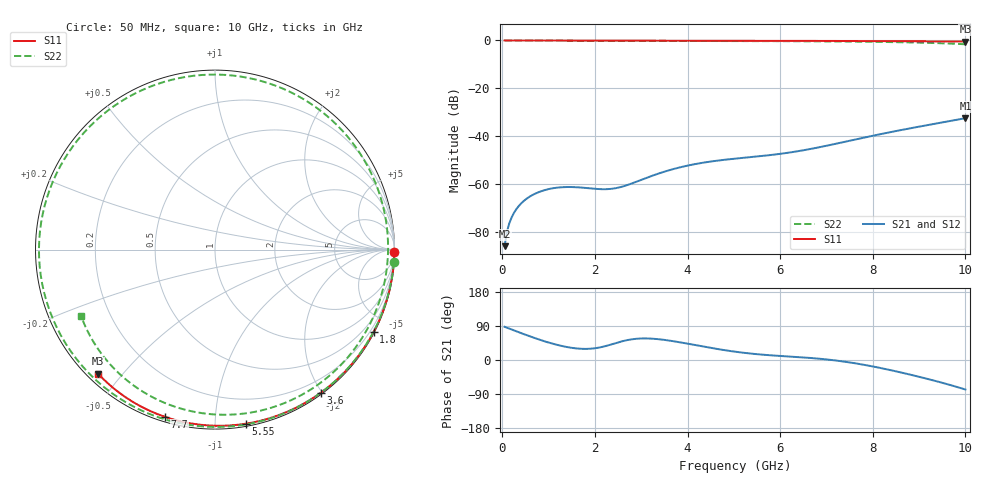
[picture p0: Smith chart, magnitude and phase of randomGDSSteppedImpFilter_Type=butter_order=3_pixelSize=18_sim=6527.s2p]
! freq	dB(S11)	phase(S11)	dB(S12)	phase(S12)
!  dB(S21)	phase(S21)	dB(S22)	phase(S22)
!S-par simulation data
#  GHz  S  DB  R 50
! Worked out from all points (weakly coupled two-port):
!   200 points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, 50 MHz to 10 GHz, reference 50 ohm
!   highest |S21| = -32.47 dB at 10 GHz (marker M1); lowest = -85.9 dB at 50 MHz (marker M2)
!   lowest |S11| = -0.4 dB at 10 GHz (marker M3), VSWR 38.93, Z = 1.52 - j21.5 ohm
!   |S11| at or under -10 dB: nowhere
!   |S22| runs from -1.6 to 0.0 dB; largest |S21 - S12| = 0
!   S11 on the Smith chart (normalised r, x): 50 MHz: open; 1.8 GHz: 0.04, -4.11; 3.6 GHz: 0.02, -1.98; 5.55 GHz: 0.02, -1.19; 7.7 GHz: 0.02, -0.75; 10 GHz: 0.03, -0.43
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0.05  -0.00 -0.8  -85.92 87.6  -85.92 87.6  -0.00 -4.1
0.1  -0.00 -1.6  -79.92 85.3  -79.92 85.3  -0.01 -8.1
0.2  -0.00 -3.1  -73.96 80.5  -73.96 80.5  -0.02 -16.2
0.4  -0.01 -6.2  -68.21 71.2  -68.21 71.2  -0.05 -32.1
0.9  -0.02 -13.8  -62.60 49.8  -62.60 49.8  -0.09 -70.5
1.3  -0.02 -19.9  -61.29 36.6  -61.29 36.6  -0.11 -99.2
1.75  -0.03 -26.6  -61.51 29.4  -61.51 29.4  -0.14 -129.1
1.8  -0.03 -27.4  -61.60 29.3  -61.60 29.3  -0.14 -132.3
2.2  -0.04 -33.3  -62.14 35.8  -62.14 35.8  -0.16 -156.9
2.55  -0.05 -38.4  -61.26 48.2  -61.26 48.2  -0.17 -177.4
2.95  -0.06 -44.2  -58.60 56.5  -58.60 56.5  -0.18 160.1
3.4  -0.07 -50.7  -55.42 54.6  -55.42 54.6  -0.19 135.8
3.6  -0.07 -53.5  -54.22 51.4  -54.22 51.4  -0.20 125.2
4.3  -0.09 -63.2  -51.17 36.4  -51.17 36.4  -0.22 89.2
5.05  -0.11 -73.3  -49.32 21.5  -49.32 21.5  -0.25 52.5
5.55  -0.13 -79.8  -48.37 14.8  -48.37 14.8  -0.27 29.3
6.1  -0.15 -86.9  -47.10 9.9  -47.10 9.9  -0.31 5.2
6.7  -0.18 -94.4  -45.16 4.9  -45.16 4.9  -0.36 -19.5
7.7  -0.24 -106.6  -41.05 -10.3  -41.05 -10.3  -0.51 -57.6
8.35  -0.29 -114.3  -38.41 -25.8  -38.41 -25.8  -0.66 -81.4
9.2  -0.36 -124.2  -35.29 -50.4  -35.29 -50.4  -1.00 -114.5
10  -0.45 -133.3  -32.47 -77.9  -32.47 -77.9  -1.59 -153.8
